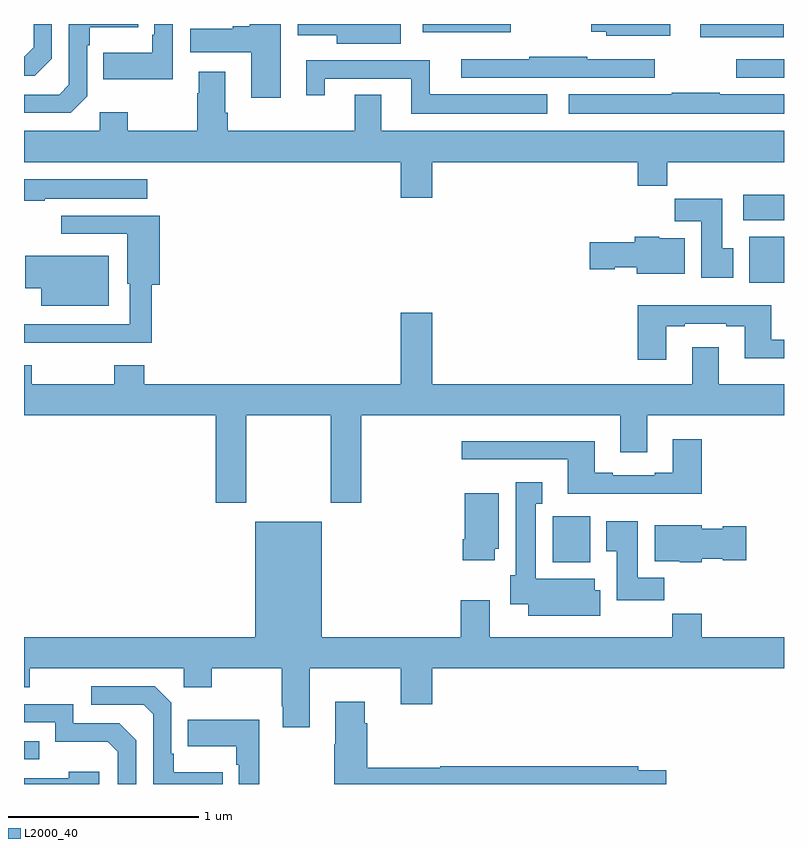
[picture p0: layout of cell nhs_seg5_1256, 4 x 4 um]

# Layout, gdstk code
import gdstk
lib = gdstk.Library(unit=1e-6, precision=1e-09)
def R(c, l, rs):  # rectangles x0, y0, x1, y1
    for r in rs: c.add(gdstk.rectangle(r[:2], r[2:], *l))
def P(c, l, *ps):  # polygons
    for p in ps: c.add(gdstk.Polygon(p, *l))
L2000_40 = (2000, 40)

nhs_seg5_1256 = lib.new_cell('nhs_seg5_1256')
R(nhs_seg5_1256, L2000_40, [(187,874.929,187.079,875.025), (189.782,875.966,189.979,876.208), (190.817,877.436,191,877.678), (190.785,877.766,191,877.9), (190.749,878.517,191,878.613), (190.559,878.729,190.999,878.799), (189.098,878.756,189.562,878.799)])
P(nhs_seg5_1256, L2000_40, [(188.983,878.799),(188.442,878.799),(188.442,878.741),(188.645,878.741),(188.645,878.696),(188.983,878.696)],
  [(187.782,878.799),(187.686,878.799),(187.686,878.743),(187.674,878.743),(187.674,878.647),(187.417,878.647),(187.417,878.507),(187.782,878.507)],
  [(188.35,878.799),(188.188,878.799),(188.188,878.786),(188.099,878.786),(188.099,878.773),(187.875,878.773),(187.875,878.651),(188.195,878.651),(188.195,878.412),(188.35,878.412)],
  [(187.146,878.616),(187.146,878.799),(187.05,878.799),(187.05,878.676),(187,878.626),(187,878.526),(187.056,878.526)],
  [(190.402,878.799),(189.986,878.799),(189.986,878.759),(190.065,878.759),(190.065,878.738),(190.402,878.738)],
  [(187.332,878.418),(187.332,878.687),(187.345,878.687),(187.345,878.783),(187.601,878.783),(187.601,878.799),(187.236,878.799),(187.236,878.478),(187.185,878.427),(187,878.427),(187,878.331),(187.245,878.331)],
  [(190.321,878.613),(189.965,878.613),(189.965,878.626),(189.658,878.626),(189.658,878.614),(189.3,878.614),(189.3,878.517),(190.321,878.517)],
  [(189.754,878.428),(189.136,878.428),(189.136,878.607),(188.486,878.607),(188.486,878.424),(188.584,878.424),(188.584,878.511),(189.038,878.511),(189.038,878.327),(189.754,878.327)],
  [(189.148,878.072),(190.229,878.072),(190.229,877.948),(190.385,877.948),(190.385,878.072),(191,878.072),(191,878.236),(188.881,878.236),(188.881,878.426),(188.741,878.426),(188.741,878.236),(188.072,878.236),(188.072,878.332),(188.059,878.332),(188.059,878.548),(187.919,878.548),(187.919,878.435),(187.912,878.435),(187.912,878.236),(187.545,878.236),(187.545,878.335),(187.398,878.335),(187.398,878.236),(187,878.236),(187,878.072),(188.984,878.072),(188.984,877.884),(189.148,877.884)],
  [(191,878.428),(190.661,878.428),(190.661,878.438),(190.408,878.438),(190.408,878.428),(189.867,878.428),(189.867,878.327),(191,878.327)],
  [(187.109,877.88),(187.648,877.88),(187.648,877.981),(187,877.981),(187,877.87),(187.109,877.87)],
  [(190.732,877.62),(190.675,877.62),(190.675,877.879),(190.426,877.879),(190.426,877.76),(190.565,877.76),(190.565,877.464),(190.732,877.464)],
  [(187.385,877.122),(187.673,877.122),(187.673,877.427),(187.715,877.427),(187.715,877.791),(187.197,877.791),(187.197,877.695),(187.544,877.695),(187.544,877.431),(187.557,877.431),(187.557,877.218),(187,877.218),(187,877.122),(187.129,877.122),(187.129,877.121),(187.385,877.121)],
  [(190.477,877.672),(190.344,877.672),(190.344,877.678),(190.214,877.678),(190.214,877.65),(189.978,877.65),(189.978,877.508),(190.11,877.508),(190.11,877.52),(190.226,877.52),(190.226,877.484),(190.477,877.484)],
  [(187.447,877.579),(187.007,877.579),(187.007,877.409),(187.091,877.409),(187.091,877.316),(187.447,877.316)],
  [(190.381,877.209),(190.477,877.209),(190.477,877.221),(190.697,877.221),(190.697,877.209),(190.793,877.209),(190.793,877.04),(191,877.04),(191,877.137),(190.933,877.137),(190.933,877.318),(190.229,877.318),(190.229,877.032),(190.381,877.032)],
  [(188.169,876.74),(188.614,876.74),(188.614,876.279),(188.774,876.279),(188.774,876.74),(190.139,876.74),(190.139,876.546),(190.279,876.546),(190.279,876.74),(191,876.74),(191,876.904),(190.657,876.904),(190.657,877.099),(190.517,877.099),(190.517,876.904),(189.148,876.904),(189.148,877.279),(188.984,877.279),(188.984,876.904),(187.634,876.904),(187.634,877.003),(187.474,877.003),(187.474,876.904),(187.041,876.904),(187.041,877.003),(187,877.003),(187,876.74),(188.009,876.74),(188.009,876.279),(188.169,876.279)],
  [(190.568,876.613),(190.415,876.613),(190.415,876.436),(190.319,876.436),(190.319,876.423),(190.099,876.423),(190.099,876.436),(190.003,876.436),(190.003,876.604),(189.303,876.604),(189.303,876.507),(189.863,876.507),(189.863,876.326),(190.568,876.326)],
  [(190.033,875.819),(190.003,875.819),(190.003,875.878),(189.694,875.878),(189.694,876.275),(189.727,876.275),(189.727,876.388),(189.587,876.388),(189.587,875.898),(189.56,875.898),(189.56,875.744),(189.653,875.744),(189.653,875.684),(190.033,875.684)],
  [(189.478,876.036),(189.499,876.036),(189.499,876.328),(189.32,876.328),(189.32,876.088),(189.308,876.088),(189.308,875.976),(189.478,875.976)],
  [(190.37,875.884),(190.231,875.884),(190.231,876.181),(190.064,876.181),(190.064,876.025),(190.121,876.025),(190.121,875.766),(190.37,875.766)],
  [(188.503,875.408),(188.984,875.408),(188.984,875.22),(189.148,875.22),(189.148,875.408),(191,875.408),(191,875.572),(190.568,875.572),(190.568,875.696),(190.411,875.696),(190.411,875.572),(189.451,875.572),(189.451,875.767),(189.299,875.767),(189.299,875.572),(188.566,875.572),(188.566,876.178),(188.216,876.178),(188.216,875.572),(187,875.572),(187,875.309),(187.029,875.309),(187.029,875.408),(187.842,875.408),(187.842,875.309),(187.989,875.309),(187.989,875.408),(188.356,875.408),(188.356,875.209),(188.363,875.209),(188.363,875.097),(188.503,875.097)],
  [(190.566,875.984),(190.677,875.984),(190.677,875.977),(190.801,875.977),(190.801,876.155),(190.677,876.155),(190.677,876.142),(190.566,876.142),(190.566,876.16),(190.319,876.16),(190.319,875.972),(190.452,875.972),(190.452,875.966),(190.566,875.966)],
  [(188.045,874.861),(187.789,874.861),(187.789,874.957),(187.776,874.957),(187.776,875.226),(187.689,875.313),(187.353,875.313),(187.353,875.217),(187.629,875.217),(187.68,875.166),(187.68,874.799),(188.045,874.799)],
  [(190.379,874.872),(190.232,874.872),(190.232,874.892),(189.19,874.892),(189.19,874.885),(188.807,874.885),(188.807,875.12),(188.794,875.12),(188.794,875.233),(188.639,875.233),(188.639,875.009),(188.632,875.009),(188.632,874.799),(190.379,874.799)],
  [(187.59,875.028),(187.5,875.118),(187.26,875.118),(187.26,875.22),(187,875.22),(187,875.124),(187.164,875.124),(187.164,875.021),(187.441,875.021),(187.494,874.968),(187.494,874.799),(187.59,874.799)],
  [(188.239,875.137),(187.861,875.137),(187.861,874.997),(188.118,874.997),(188.118,874.901),(188.13,874.901),(188.13,874.799),(188.239,874.799)],
  [(187.396,874.864),(187.235,874.864),(187.235,874.83),(187,874.83),(187,874.799),(187.396,874.799)])

lib.write_gds('nhs_seg5_1256.gds')
